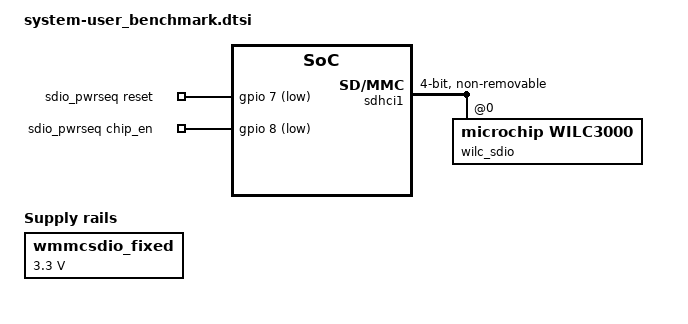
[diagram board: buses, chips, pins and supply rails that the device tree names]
/ {

   chosen {
      bootargs = "earlycon console=ttyPS0,115200 clk_ignore_unused root=/dev/mmcblk0p2 rw rootwait cma=512M rfkill.default_state=1";
   };
   
   wmmcsdio_fixed: fixedregulator-mmcsdio {
      compatible = "regulator-fixed";
      regulator-name = "wmmcsdio_fixed";
      regulator-min-microvolt = <3300000>;
      regulator-max-microvolt = <3300000>;
      regulator-always-on;
      regulator-boot-on;
   };

   sdio_pwrseq: sdio-pwrseq {  /* This needs to be able to manipulate the chip_en and the resetn properly */
      compatible = "mmc-pwrseq-simple";
      reset-gpios = <&gpio 7 1>; // MIO[7] for WILC3000 RESETN, Active low
      post-power-on-delay-ms = <10>;
      chip_en-gpios = <&gpio 8 1>;
   };
};

&amba_pl{
    axidma_chrdev: axidma_chrdev@0 {
            compatible = "xlnx,axidma-chrdev";
            dmas = <&axi_dma_0 0 &axi_dma_0 1>;
            dma-names = "tx_channel", "rx_channel";
    };
};
&axi_dma_0{
    dma-channel@a0000000 {
	xlnx,device-id = <0x0>;
     };
     dma-channel@a0000030 {
	xlnx,device-id = <0x1>;
    };
};
 
/* SD0 only supports 3.3V, no level shifter */
&sdhci0 {
   no-1-8-v;
   disable-wp;
};

&sdhci1 {
   bus-width = <0x4>;
   non-removable;
   disable-wp;
   mmc-pwrseq = <&sdio_pwrseq>;
   max-frequency = <50000000>;
   vqmmc-supply = <&wmmcsdio_fixed>;
   #address-cells = <1>;
   #size-cells = <0>;
   wilc_sdio@1 {
      compatible = "microchip,wilc3000", "microchip,wilc3000";
      reg = <0>;
      // interrupt-parent = <&gpio>; // Microchip driver DOES NOT use gpio irq any more!
      // interrupts = <76 2>; /* MIO76 WILC IRQ 1V8 */ // Microchip driver DOES NOT use gpio irq any more!
      // irq-gpios = <&gpio 76 0>; // Microchip driver DOES NOT use gpio irq any more!
      bus-width= <0x4>;
      status = "okay";
   };
};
